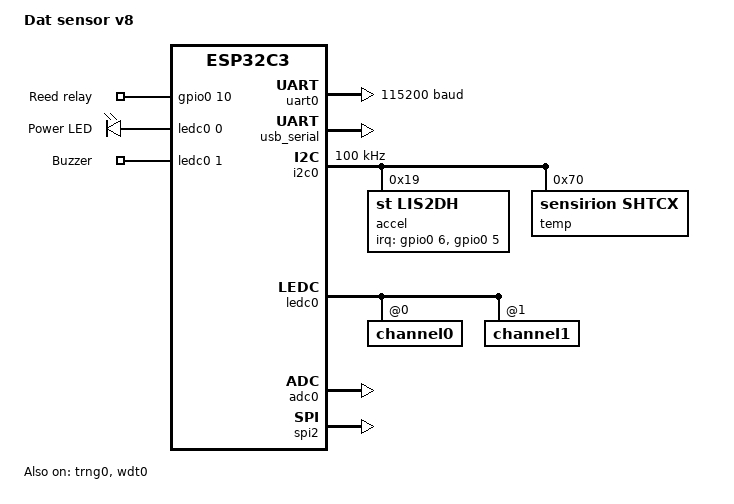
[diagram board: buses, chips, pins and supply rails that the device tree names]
/*
 * Copyright (c) 2021 Espressif Systems (Shanghai) Co., Ltd.
 *
 * SPDX-License-Identifier: Apache-2.0
 */
 /dts-v1/;
#include <espressif/esp32c3/esp32c3_mini_n4.dtsi>
#include <zephyr/dt-bindings/pwm/pwm.h>
#include "dat_sensor_v8-pinctrl.dtsi"

/ {
	model = "Dat sensor v8";
	compatible = "dukasol,dat_sensor_v8";

	chosen {
		zephyr,sram = &sram0;
		zephyr,console = &usb_serial;
		zephyr,shell-uart = &usb_serial;
		zephyr,flash = &flash0;
	};

	aliases {
		i2c-0 = &i2c0;
		watchdog0 = &wdt0;
	};

	gpio_keys {
		compatible = "gpio-keys";
		reed_relay: reed_relay {
			label = "Reed relay";
			gpios = <&gpio0 10 (GPIO_PULL_DOWN | GPIO_ACTIVE_HIGH)>;
		};
	};

	pwmleds {
		compatible = "pwm-leds";
		power_led: power_led_0 {
			label = "Power LED";
			pwms = <&ledc0 0 PWM_HZ(100) PWM_POLARITY_NORMAL>;
		};
		buzzer: buzzer_0 {
			label = "Buzzer";
			pwms = <&ledc0 1 PWM_HZ(100) PWM_POLARITY_NORMAL>;
		};
	};
};

&cpu0 {
	clock-frequency = <ESP32_CLK_CPU_160M>;
};

&uart0 {
	status = "okay";
	current-speed = <115200>;
	pinctrl-0 = <&uart0_default>;
	pinctrl-names = "default";
};

&usb_serial {
	status = "okay";
};

&i2c0 {
	status = "okay";
	clock-frequency = <I2C_BITRATE_STANDARD>;
	pinctrl-0 = <&i2c0_default>;
	pinctrl-names = "default";

	accel: lis2de12@19 {
		compatible = "st,lis2dh";
		reg = <0x19>;
		status = "okay";
		irq-gpios = <&gpio0 6 GPIO_ACTIVE_HIGH>,
					<&gpio0 5 GPIO_ACTIVE_HIGH>;
	};

	temp: SHTC3@70 {
		compatible = "sensirion,shtcx";
		reg = <0x70>;
		status = "okay";
		chip = "shtc3";
		measure-mode = "normal";
	};

};

&ledc0 {
	pinctrl-0 = <&ledc0_default>;
	pinctrl-names = "default";
	status = "okay";
	#address-cells = <1>;
	#size-cells = <0>;
	channel0@0 {
		reg = <0x0>;
		timer = <0>;
	};
	channel1@1 {
		reg = <0x1>;
		timer = <1>;
	};
};

&adc0 {
	compatible = "espressif,esp32-adc";
	status = "okay";

};

&trng0 {
	status = "okay";
};

&spi2 {
	#address-cells = <1>;
	#size-cells = <0>;
	status = "okay";
	pinctrl-0 = <&spim2_default>;
	pinctrl-names = "default";
};

&gpio0 {
	status = "okay";
};

&wdt0 {
	status = "okay";
};

&timer0 {
	status = "disabled";
};

&timer1 {
	status = "disabled";
};

&twai {
	/* requires external CAN transceiver or jumper on RX and TX pins for loopback testing */
	status = "disabled";
	pinctrl-0 = <&twai_default>;
	pinctrl-names = "default";
	bus-speed = <125000>;
};

&flash0 {
	status = "okay";
	partitions {
		compatible = "fixed-partitions";
		#address-cells = <1>;
		#size-cells = <1>;

		/* Reserve 60kB for the bootloader */
		boot_partition: partition@0 {
			label = "mcuboot";
			reg = <0x00000000 0x0000F000>;
			read-only;
		};

		/* Reserve 1024kB for the application in slot 0 */
		slot0_partition: partition@10000 {
			label = "image-0";
			reg = <0x00010000 0x00100000>;
		};

		/* Reserve 1024kB for the application in slot 1 */
		slot1_partition: partition@110000 {
			label = "image-1";
			reg = <0x00110000 0x00100000>;
		};

		/* Reserve 256kB for the scratch partition */
		scratch_partition: partition@210000 {
			   label = "image-scratch";
			   reg = <0x00210000 0x00040000>;
		};

		storage_partition: partition@250000 {
			label = "storage";
			reg = <0x00250000 0x00006000>;
		};
	};
};
